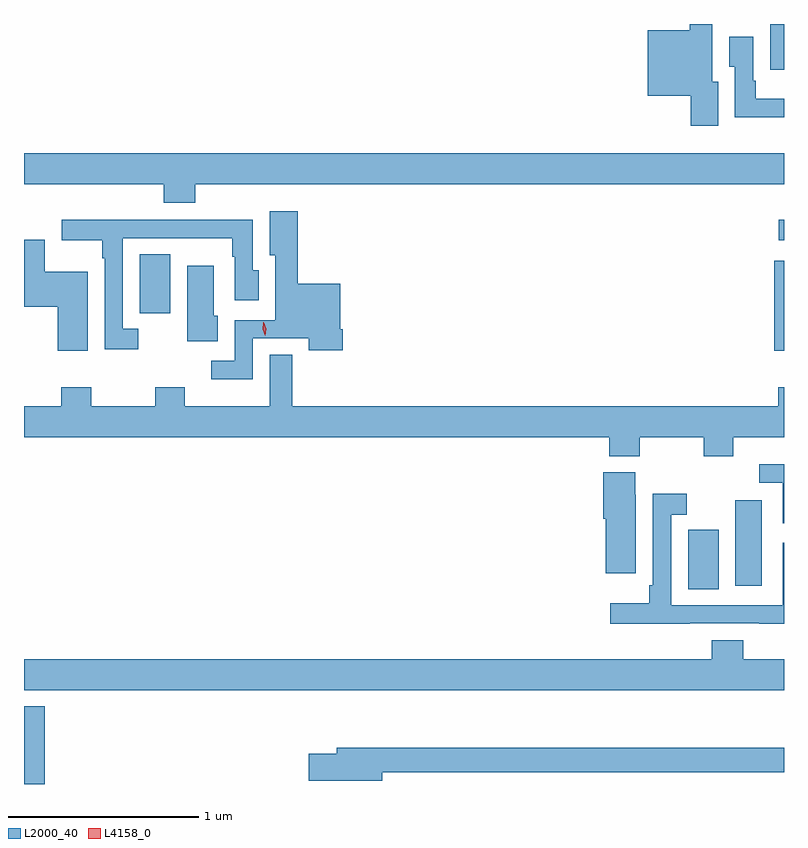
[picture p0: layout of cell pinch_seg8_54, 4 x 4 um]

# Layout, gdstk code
import gdstk
lib = gdstk.Library(unit=1e-6, precision=1e-09)
def R(c, l, rs):  # rectangles x0, y0, x1, y1
    for r in rs: c.add(gdstk.rectangle(r[:2], r[2:], *l))
def P(c, l, *ps):  # polygons
    for p in ps: c.add(gdstk.Polygon(p, *l))
L2000_40 = (2000, 40)
L4158_0 = (4158, 0)

pinch_seg8_54 = lib.new_cell('pinch_seg8_54')
R(pinch_seg8_54, L2000_40, [(922.856,1117.339,922.964,1117.747), (926.351,1118.365,926.512,1118.676), (926.6,1118.382,926.74,1118.833), (926.804,1119.618,926.856,1120.093), (923.465,1119.816,923.626,1120.127), (926.829,1120.202,926.856,1120.31), (926.783,1121.099,926.856,1121.339)])
P(pinch_seg8_54, L2000_40, [(926.509,1121.035),(926.479,1121.035),(926.479,1121.339),(926.361,1121.339),(926.361,1121.305),(926.138,1121.305),(926.138,1120.961),(926.366,1120.961),(926.366,1120.803),(926.509,1120.803)],
  [(926.819,1120.848),(926.856,1120.848),(926.856,1120.945),(926.707,1120.945),(926.707,1121.041),(926.694,1121.041),(926.694,1121.272),(926.567,1121.272),(926.567,1121.113),(926.598,1121.113),(926.598,1120.847),(926.819,1120.847)],
  [(923.756,1120.496),(926.856,1120.496),(926.856,1120.66),(922.856,1120.66),(922.856,1120.496),(923.591,1120.496),(923.591,1120.397),(923.756,1120.397)],
  [(924.06,1119.684),(924.266,1119.684),(924.266,1119.686),(924.355,1119.686),(924.355,1119.621),(924.533,1119.621),(924.533,1119.733),(924.52,1119.733),(924.52,1119.973),(924.298,1119.973),(924.298,1120.354),(924.149,1120.354),(924.149,1120.121),(924.179,1120.121),(924.179,1119.78),(923.964,1119.78),(923.964,1119.567),(923.841,1119.567),(923.841,1119.47),(924.06,1119.47)],
  [(923.458,1119.735),(923.376,1119.735),(923.376,1120.212),(923.722,1120.212),(923.722,1120.211),(923.952,1120.211),(923.952,1120.115),(923.964,1120.115),(923.964,1119.885),(924.091,1119.885),(924.091,1120.044),(924.06,1120.044),(924.06,1120.31),(923.839,1120.31),(923.839,1120.308),(923.473,1120.308),(923.473,1120.31),(923.055,1120.31),(923.055,1120.202),(923.268,1120.202),(923.268,1120.106),(923.28,1120.106),(923.28,1119.627),(923.458,1119.627)],
  [(923.191,1120.036),(922.966,1120.036),(922.966,1120.204),(922.856,1120.204),(922.856,1119.851),(923.033,1119.851),(923.033,1119.618),(923.191,1119.618)],
  [(923.875,1119.804),(923.854,1119.804),(923.854,1120.066),(923.714,1120.066),(923.714,1119.668),(923.875,1119.668)],
  [(926.097,1119.164),(926.434,1119.164),(926.434,1119.065),(926.589,1119.065),(926.589,1119.164),(926.856,1119.164),(926.856,1119.427),(926.825,1119.427),(926.825,1119.328),(924.268,1119.328),(924.268,1119.599),(924.149,1119.599),(924.149,1119.328),(923.703,1119.328),(923.703,1119.427),(923.548,1119.427),(923.548,1119.328),(923.211,1119.328),(923.211,1119.427),(923.051,1119.427),(923.051,1119.328),(922.856,1119.328),(922.856,1119.164),(925.937,1119.164),(925.937,1119.065),(926.097,1119.065)],
  [(926.856,1119.022),(926.727,1119.022),(926.727,1118.925),(926.85,1118.925),(926.85,1118.712),(926.856,1118.712)],
  [(926.077,1118.862),(926.074,1118.862),(926.074,1118.98),(925.904,1118.98),(925.904,1118.734),(925.919,1118.734),(925.919,1118.448),(926.077,1118.448)],
  [(926.359,1118.184),(926.725,1118.184),(926.725,1118.183),(926.856,1118.183),(926.856,1118.608),(926.85,1118.608),(926.85,1118.28),(926.262,1118.28),(926.262,1118.757),(926.344,1118.757),(926.344,1118.866),(926.166,1118.866),(926.166,1118.386),(926.146,1118.386),(926.146,1118.29),(925.941,1118.29),(925.941,1118.183),(926.359,1118.183)],
  [(926.856,1117.996),(926.642,1117.996),(926.642,1118.095),(926.477,1118.095),(926.477,1117.996),(922.856,1117.996),(922.856,1117.832),(926.856,1117.832)],
  [(924.742,1117.402),(926.856,1117.402),(926.856,1117.531),(924.503,1117.531),(924.503,1117.497),(924.354,1117.497),(924.354,1117.355),(924.742,1117.355)])
P(pinch_seg8_54, L4158_0, [(924.127,1119.698),(924.126,1119.699),(924.112,1119.733),(924.116,1119.77),(924.116,1119.77),(924.117,1119.77),(924.131,1119.735),(924.127,1119.699)])

lib.write_gds('pinch_seg8_54.gds')
